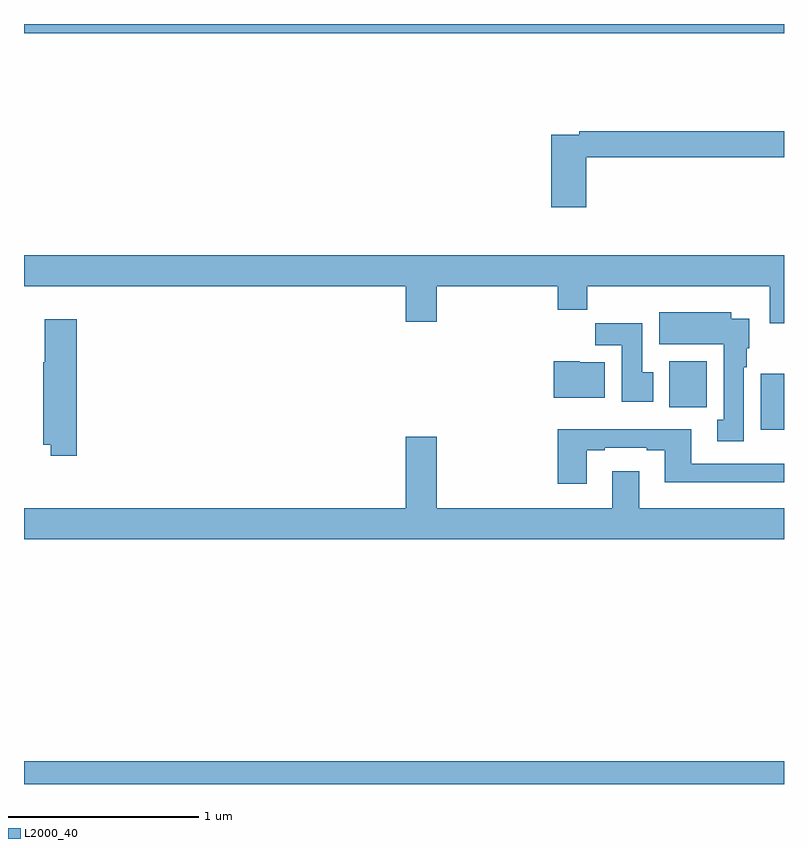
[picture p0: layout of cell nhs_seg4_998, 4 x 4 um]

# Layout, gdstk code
import gdstk
lib = gdstk.Library(unit=1e-6, precision=1e-09)
def R(c, l, rs):  # rectangles x0, y0, x1, y1
    for r in rs: c.add(gdstk.rectangle(r[:2], r[2:], *l))
def P(c, l, *ps):  # polygons
    for p in ps: c.add(gdstk.Polygon(p, *l))
L2000_40 = (2000, 40)

nhs_seg4_998 = lib.new_cell('nhs_seg4_998')
R(nhs_seg4_998, L2000_40, [(163,760.9,167,761.02), (166.877,762.764,167,763.06), (166.397,762.884,166.594,763.126), (163,764.852,167,764.9)])
P(nhs_seg4_998, L2000_40, [(165.959,764.2),(167,764.2),(167,764.336),(165.922,764.336),(165.922,764.316),(165.776,764.316),(165.776,763.935),(165.959,763.935)],
  [(167,763.684),(163,763.684),(163,763.52),(165.008,763.52),(165.008,763.332),(165.172,763.332),(165.172,763.52),(165.809,763.52),(165.809,763.396),(165.965,763.396),(165.965,763.52),(166.925,763.52),(166.925,763.326),(167,763.326)],
  [(166.789,763.094),(166.804,763.094),(166.804,763.194),(166.816,763.194),(166.816,763.348),(166.723,763.348),(166.723,763.384),(166.343,763.384),(166.343,763.214),(166.682,763.214),(166.682,762.818),(166.649,762.818),(166.649,762.705),(166.789,762.705)],
  [(163.277,763.345),(163.109,763.345),(163.109,763.121),(163.102,763.121),(163.102,762.686),(163.142,762.686),(163.142,762.627),(163.277,762.627)],
  [(166.312,763.068),(166.255,763.068),(166.255,763.326),(166.006,763.326),(166.006,763.208),(166.145,763.208),(166.145,762.912),(166.312,762.912)],
  [(166.057,763.12),(165.924,763.12),(165.924,763.126),(165.788,763.126),(165.788,762.932),(166.057,762.932)],
  [(165.961,762.657),(166.057,762.657),(166.057,762.669),(166.277,762.669),(166.277,762.657),(166.373,762.657),(166.373,762.488),(167,762.488),(167,762.585),(166.513,762.585),(166.513,762.766),(165.809,762.766),(165.809,762.48),(165.961,762.48)],
  [(167,762.352),(166.237,762.352),(166.237,762.547),(166.097,762.547),(166.097,762.352),(165.172,762.352),(165.172,762.727),(165.008,762.727),(165.008,762.352),(163,762.352),(163,762.188),(167,762.188)])

lib.write_gds('nhs_seg4_998.gds')
